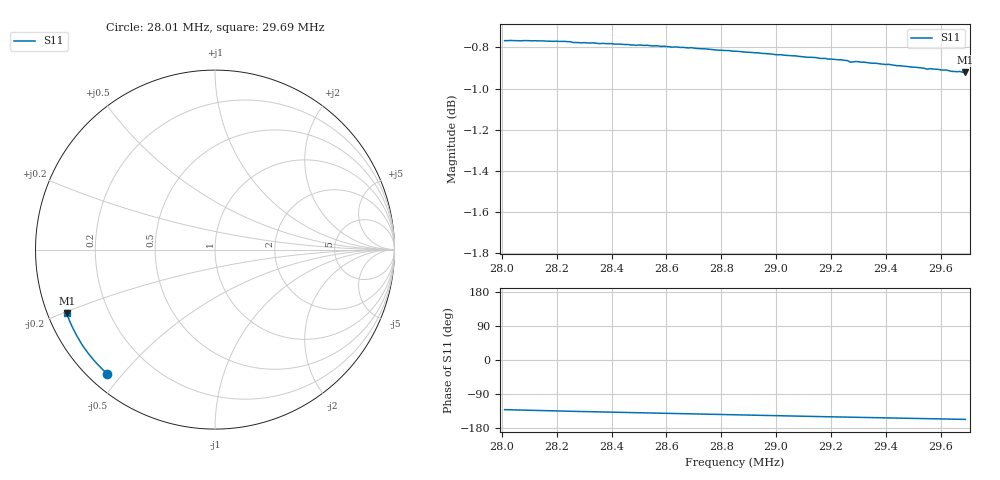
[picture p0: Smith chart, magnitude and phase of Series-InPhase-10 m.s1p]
# HZ S RI R 50
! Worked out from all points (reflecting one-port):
!   169 points, 28.01 MHz to 29.69 MHz, reference 50 ohm
!   lowest |S11| = -0.9 dB at 29.69 MHz (marker M1), VSWR 18.87, Z = 2.76 - j10.3 ohm
!   phase of S11 starts at -131 deg and turns -26 deg over the sweep
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2.801e7  -0.6005 -0.691
2.811004e7  -0.6223 -0.6713
2.822008e7  -0.6443 -0.6498
2.82501e7  -0.65 -0.6439
2.82601e7  -0.6518 -0.6415
2.833013e7  -0.6648 -0.6277
2.843017e7  -0.6821 -0.6079
2.849019e7  -0.6919 -0.5957
2.85002e7  -0.6936 -0.5941
2.853021e7  -0.6985 -0.5881
2.862024e7  -0.7122 -0.5699
2.864025e7  -0.7152 -0.5663
2.87603e7  -0.7321 -0.5423
2.885034e7  -0.7439 -0.5243
2.896038e7  -0.7576 -0.5022
2.904041e7  -0.767 -0.4858
2.906042e7  -0.7691 -0.4821
2.911044e7  -0.7747 -0.4717
2.915046e7  -0.7789 -0.4641
2.921048e7  -0.7852 -0.4519
2.92605e7  -0.7901 -0.442
2.92705e7  -0.7905 -0.4396
2.929051e7  -0.7929 -0.4359
2.941056e7  -0.8042 -0.4116
2.948059e7  -0.81 -0.3975
2.962064e7  -0.8214 -0.3693
2.964065e7  -0.8226 -0.3648
2.969067e7  -0.8263 -0.355
